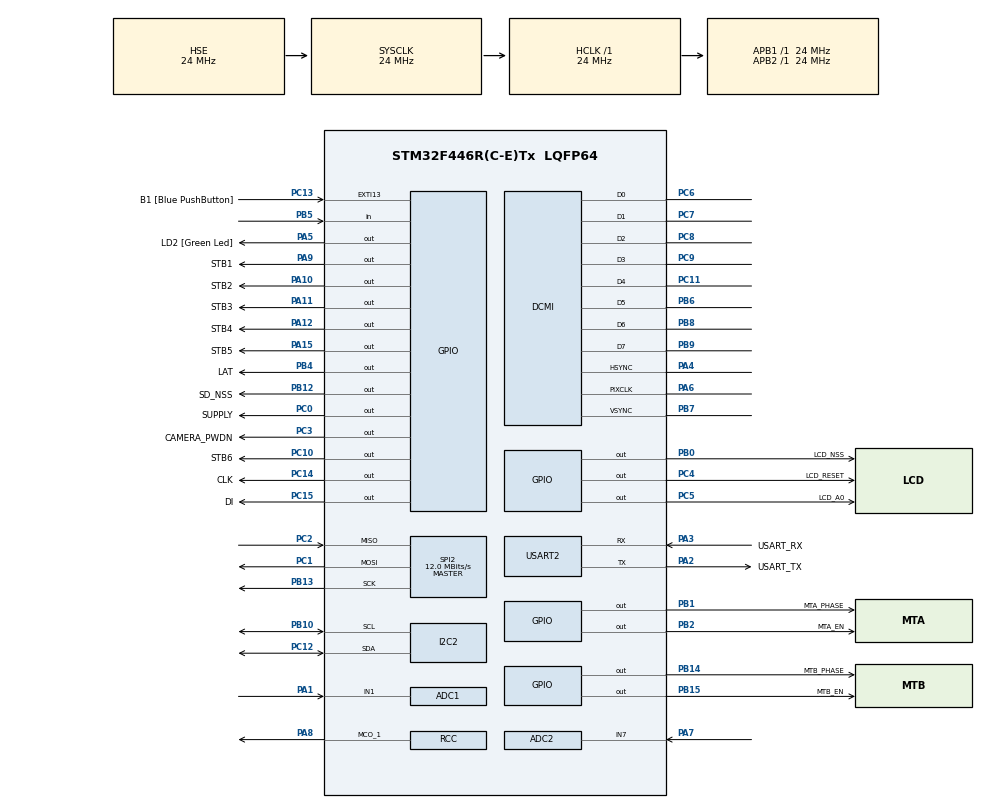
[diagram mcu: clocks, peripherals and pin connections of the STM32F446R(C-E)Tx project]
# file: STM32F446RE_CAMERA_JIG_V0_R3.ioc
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ADC1.Channel-0\#ChannelRegularConversion=ADC_CHANNEL_1
ADC1.ClockPrescaler=ADC_CLOCK_SYNC_PCLK_DIV4
ADC1.NbrOfConversionFlag=1
ADC1.Rank-0\#ChannelRegularConversion=1
ADC1.SamplingTime-0\#ChannelRegularConversion=ADC_SAMPLETIME_3CYCLES
ADC1.master=1
ADC2.Channel-0\#ChannelRegularConversion=ADC_CHANNEL_7
ADC2.ClockPrescaler=ADC_CLOCK_SYNC_PCLK_DIV4
ADC2.NbrOfConversionFlag=1
ADC2.Rank-0\#ChannelRegularConversion=1
ADC2.SamplingTime-0\#ChannelRegularConversion=ADC_SAMPLETIME_3CYCLES
Mcu.Family=STM32F4
Mcu.Name=STM32F446R(C-E)Tx
Mcu.Package=LQFP64
NVIC.PriorityGroup=NVIC_PRIORITYGROUP_0
NVIC.TIM3_IRQn=true\:0\:0\:false\:false\:true\:true\:true
PA0-WKUP.Mode=SYS_WakeUp0
PA0-WKUP.Signal=SYS_WKUP0
PA1.Signal=ADCx_IN1
PA10.GPIO_Label=STB2
PA10.Signal=GPIO_Output
PA11.GPIO_Label=STB3
PA11.Signal=GPIO_Output
PA12.GPIO_Label=STB4
PA12.Signal=GPIO_Output
PA13.GPIO_Label=TMS
PA13.Mode=Serial_Wire
PA13.Signal=SYS_JTMS-SWDIO
PA14.GPIO_Label=TCK
PA14.Mode=Serial_Wire
PA14.Signal=SYS_JTCK-SWCLK
PA15.GPIO_Label=STB5
PA15.Signal=GPIO_Output
PA2.GPIO_Label=USART_TX
PA2.Mode=Asynchronous
PA2.Signal=USART2_TX
PA3.GPIO_Label=USART_RX
PA3.Mode=Asynchronous
PA3.Signal=USART2_RX
PA4.Mode=Slave_8_bits_External_Synchro
PA4.Signal=DCMI_HSYNC
PA5.GPIO_Label=LD2 [Green Led]
PA5.Signal=GPIO_Output
PA6.Mode=Slave_8_bits_External_Synchro
PA6.Signal=DCMI_PIXCLK
PA7.Signal=ADCx_IN7
PA8.Mode=Clock-out-1
PA8.Signal=RCC_MCO_1
PA9.GPIO_Label=STB1
PA9.Signal=GPIO_Output
PB0.GPIO_Label=LCD_NSS
PB0.Signal=GPIO_Output
PB1.GPIO_Label=MTA_PHASE
PB1.Signal=GPIO_Output
PB10.Mode=I2C
PB10.Signal=I2C2_SCL
PB12.GPIO_Label=SD_NSS
PB12.Signal=GPIO_Output
PB13.Mode=Full_Duplex_Master
PB13.Signal=SPI2_SCK
PB14.GPIO_Label=MTB_PHASE
PB14.Signal=GPIO_Output
PB15.GPIO_Label=MTB_EN
PB15.Signal=GPIO_Output
PB2.GPIO_Label=MTA_EN
PB2.Signal=GPIO_Output
PB3.GPIO_Label=SWO
PB3.Signal=SYS_JTDO-SWO
PB4.GPIO_Label=LAT
PB4.Signal=GPIO_Output
PB5.Signal=GPIO_Input
PB6.Mode=Slave_8_bits_External_Synchro
PB6.Signal=DCMI_D5
PB7.Mode=Slave_8_bits_External_Synchro
PB7.Signal=DCMI_VSYNC
PB8.Mode=Slave_8_bits_External_Synchro
PB8.Signal=DCMI_D6
PB9.Mode=Slave_8_bits_External_Synchro
PB9.Signal=DCMI_D7
PC0.GPIO_Label=SUPPLY
PC0.Signal=GPIO_Output
PC1.Mode=Full_Duplex_Master
PC1.Signal=SPI2_MOSI
PC10.GPIO_Label=STB6
PC10.Signal=GPIO_Output
PC11.Mode=Slave_8_bits_External_Synchro
PC11.Signal=DCMI_D4
PC12.Mode=I2C
PC12.Signal=I2C2_SDA
PC13.GPIO_Label=B1 [Blue PushButton]
PC13.GPIO_ModeDefaultEXTI=GPIO_MODE_IT_FALLING
PC13.Signal=GPXTI13
PC14-OSC32_IN.GPIO_Label=CLK
PC14-OSC32_IN.Signal=GPIO_Output
PC15-OSC32_OUT.GPIO_Label=DI
PC15-OSC32_OUT.Signal=GPIO_Output
PC2.Mode=Full_Duplex_Master
PC2.Signal=SPI2_MISO
PC3.GPIO_Label=CAMERA_PWDN
PC3.Signal=GPIO_Output
PC4.GPIO_Label=LCD_RESET
PC4.Signal=GPIO_Output
PC5.GPIO_Label=LCD_A0
PC5.Signal=GPIO_Output
PC6.Mode=Slave_8_bits_External_Synchro
PC6.Signal=DCMI_D0
PC7.Mode=Slave_8_bits_External_Synchro
PC7.Signal=DCMI_D1
PC8.Mode=Slave_8_bits_External_Synchro
PC8.Signal=DCMI_D2
PC9.Mode=Slave_8_bits_External_Synchro
PC9.Signal=DCMI_D3
PH0-OSC_IN.Mode=HSE-External-Oscillator
PH0-OSC_IN.Signal=RCC_OSC_IN
PH1-OSC_OUT.Mode=HSE-External-Oscillator
PH1-OSC_OUT.Signal=RCC_OSC_OUT
ProjectManager.HeapSize=0x200
ProjectManager.StackSize=0x400
ProjectManager.TargetToolchain=Makefile
RCC.48MHZClocksFreq_Value=84000000
RCC.AHBFreq_Value=24000000
RCC.APB1Freq_Value=24000000
RCC.APB1TimFreq_Value=24000000
RCC.APB2Freq_Value=24000000
RCC.APB2TimFreq_Value=24000000
RCC.CortexFreq_Value=24000000
RCC.FLatency-AdvancedSettings=FLASH_LATENCY_0
RCC.HCLKFreq_Value=24000000
RCC.HSE_VALUE=24000000
RCC.HSI_VALUE=16000000
RCC.PLLM=12
RCC.PLLN=102
RCC.PLLSourceVirtual=RCC_PLLSOURCE_HSE
RCC.SYSCLKFreq_VALUE=24000000
RCC.SYSCLKSource=RCC_SYSCLKSOURCE_HSE
RCC.USBFreq_Value=102000000
RCC.VCOOutputFreq_Value=204000000
SH.ADCx_IN1.0=ADC1_IN1,IN1
SH.ADCx_IN7.0=ADC2_IN7,IN7
SPI2.BaudRatePrescaler=SPI_BAUDRATEPRESCALER_2
SPI2.CalculateBaudRate=12.0 MBits/s
SPI2.Direction=SPI_DIRECTION_2LINES
SPI2.Mode=SPI_MODE_MASTER
SPI2.VirtualType=VM_MASTER
USART2.VirtualMode=VM_ASYNC
VP_TIM3_VS_ClockSourceINT.Mode=Internal
board=NUCLEO-F446RE

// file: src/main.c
/* USER CODE BEGIN Header */
/**
******************************************************************************
* @file           : main.c
* @brief          : Main program body
******************************************************************************
* @attention
*
* <h2><center>&copy; Copyright (c) 2020 STMicroelectronics.
* All rights reserved.</center></h2>
*
* This software component is licensed by ST under BSD 3-Clause license,
* the "License"; You may not use this file except in compliance with the
* License. You may obtain a copy of the License at:
*                        opensource.org/licenses/BSD-3-Clause
*
******************************************************************************
*/
/* USER CODE END Header */

#include "main.h"
#include "printer_stepping_defs.h"

/* USER CODE BEGIN PD */
#define TFT_DC_C  HAL_GPIO_WritePin(LCD_A0_GPIO_Port, LCD_A0_Pin, 0)
#define TFT_DC_D  HAL_GPIO_WritePin(LCD_A0_GPIO_Port, LCD_A0_Pin, 1)
#define TFT_CS_L  HAL_GPIO_WritePin(LCD_NSS_GPIO_Port, LCD_NSS_GPIO_Port, 0)
#define TFT_CS_H  HAL_GPIO_WritePin(LCD_NSS_GPIO_Port, LCD_NSS_GPIO_Port, 1)
/* USER CODE END PD */

ADC_HandleTypeDef hadc1;
ADC_HandleTypeDef hadc2;

DCMI_HandleTypeDef hdcmi;

I2C_HandleTypeDef hi2c2;

SPI_HandleTypeDef hspi2;

TIM_HandleTypeDef htim3;

UART_HandleTypeDef huart2;

/* USER CODE BEGIN PV */
volatile uint8_t led = 1;
volatile uint8_t clk = 0;
volatile uint8_t dat = 0;

volatile uint8_t data_remain = 0; // number of data in buffer
volatile int lat_cnt = -1;
volatile uint64_t buffer[2][6] = {{0},{0}};
volatile uint8_t buffer_id = 0;
volatile uint8_t buffer_stat[2] = {NOT_PREPARED, NOT_PREPARED};

volatile uint16_t dat_cnt = 0;
volatile uint8_t lat = 1;
volatile uint8_t lat_en = 0;

volatile uint8_t supply_cnt = 0;

// stb
volatile int8_t stb1_pre = -1;
volatile uint8_t stb1 = 0;
volatile int8_t stb2_pre = -1;
volatile uint8_t stb2 = 0;
volatile int8_t stb3_pre = -1;
volatile uint8_t stb3 = 0;
volatile int8_t stb4_pre = -1;
volatile uint8_t stb4 = 0;
volatile int8_t stb5_pre = -1;
volatile uint8_t stb5 = 0;
volatile int8_t stb6_pre = -1;
volatile uint8_t stb6 = 0;

// motor
volatile uint8_t mta  = 0;
volatile uint8_t mta_ = 0;
volatile uint8_t mtb  = 0;
volatile uint8_t mtb_ = 0;

volatile state_e printState = WAITING;
const uint8_t mt_drive_pattern[2][4] = {{13,7,15,11},{14,6,12,9}};

const uint8_t ena_pattern[] = {0,1,1,1,0,1,1,1};
const uint8_t pha_pattern[] = {0,1,1,1,0,0,0,0};
const uint8_t enb_pattern[] = {1,1,0,1,1,1,0,1};
const uint8_t phb_pattern[] = {1,1,0,0,0,0,0,1};

uint8_t lcdTxBuffer[] = {0, 0, 0, 0, 0, 0, 0, 0};
uint8_t lcdRxBuffer[] = {0,0,0,0,0,0,0,0,0,0};

volatile uint8_t mt_pattern_count = 0;
volatile int8_t mt_state_change_count = -1;
volatile uint8_t reading_buffer = 0;
volatile uint8_t next_read_buffer = 0;
volatile uint8_t mt_reading_pattern = 0;
/* USER CODE END PV */

void SystemClock_Config(void);
static void MX_GPIO_Init(void);
static void MX_ADC1_Init(void);
static void MX_ADC2_Init(void);
static void MX_DCMI_Init(void);
static void MX_I2C2_Init(void);
static void MX_SPI2_Init(void);
static void MX_USART2_UART_Init(void);
static void MX_TIM3_Init(void);
/* USER CODE BEGIN PFP */
gpioPin a, _a, b, _b;
gpioPin* pinArray[] = {&a, &_a, &b, &_b};
/* USER CODE END PFP */

/* USER CODE BEGIN 0 */
inline static void setup_lat(void) {
    HAL_GPIO_WritePin(LAT_GPIO_Port, LAT_Pin, GPIO_PIN_SET);
}

inline static void setup_clk(void) {
    HAL_GPIO_WritePin(CLK_GPIO_Port, CLK_Pin, GPIO_PIN_RESET);
}

inline static void setup_data_port(void) {
    /* HAL_GPIO_WritePin(DATA_PORT, DATA_OUT_Pin, GPIO_PIN_RESET);  */
    HAL_GPIO_WritePin(DI_Pin, DI_GPIO_Port, GPIO_PIN_RESET);
}

inline static void setup_stb(void) {
    /* HAL_GPIO_WritePin(STROBE_PORT, STROBE_0_Pin, GPIO_PIN_RESET);  */
    /* HAL_GPIO_WritePin(STROBE_PORT, STROBE_1_Pin, GPIO_PIN_RESET);  */
    /* HAL_GPIO_WritePin(STROBE_PORT, STROBE_2_Pin, GPIO_PIN_RESET);  */
    /* HAL_GPIO_WritePin(STROBE_PORT, STROBE_3_Pin, GPIO_PIN_RESET);  */
    /* HAL_GPIO_WritePin(STROBE_PORT, STROBE_4_Pin, GPIO_PIN_RESET);  */
    /* HAL_GPIO_WritePin(STROBE_PORT, STROBE_5_Pin, GPIO_PIN_RESET);  */
    HAL_GPIO_WritePin(STB1_GPIO_Port, STB1_Pin, GPIO_PIN_RESET);
    HAL_GPIO_WritePin(STB2_GPIO_Port, STB2_Pin, GPIO_PIN_RESET);
    HAL_GPIO_WritePin(STB3_GPIO_Port, STB3_Pin, GPIO_PIN_RESET);
    HAL_GPIO_WritePin(STB4_GPIO_Port, STB4_Pin, GPIO_PIN_RESET);
    HAL_GPIO_WritePin(STB5_GPIO_Port, STB5_Pin, GPIO_PIN_RESET);
    HAL_GPIO_WritePin(STB6_GPIO_Port, STB6_Pin, GPIO_PIN_RESET);
}

inline static void setup_supply(void) {
    HAL_GPIO_WritePin(SUPPLY_GPIO_Port, SUPPLY_Pin, SUPPLY_OFF); // supply off
}

inline static void setup_motor(void) {
    a.port = MTA_EN_GPIO_Port;
    a.pin  = MTA_EN_Pin;
    b.port = MTB_EN_GPIO_Port;
    b.pin  = MTB_EN_Pin;
    HAL_GPIO_WritePin(a.port, a.pin, 1);
    HAL_GPIO_WritePin(b.port, b.pin, 1);
}

inline static void setup_motor0(void) {
    a.port = MTA_EN_GPIO_Port;
    a.pin  = MTA_EN_Pin;
    b.port = MTB_EN_GPIO_Port;
    b.pin  = MTB_EN_Pin;
    _a.port = MTA_PHASE_GPIO_Port;
    _a.pin = MTA_PHASE_Pin;
    _b.port = MTB_PHASE_GPIO_Port;
    _b.pin = MTB_PHASE_Pin;
    a.status = 1;
    a.remain = 1;
    HAL_GPIO_WritePin(a.port, a.pin, a.status);
    b.status = 0;
    b.remain=4;
    HAL_GPIO_WritePin(b.port, b.pin, b.status);
    _a.status = 0;
    _a.remain = 2;
    _b.status = 0;
    _b.remain = 0;
    HAL_GPIO_WritePin(MTA_PHASE_GPIO_Port, MTA_PHASE_Pin, _a.status);
    HAL_GPIO_WritePin(MTB_PHASE_GPIO_Port, MTB_PHASE_Pin, _a.status);
}

void writeCommand(uint8_t cmd)
{
    lcdTxBuffer[0] = cmd;
    TFT_DC_C;
    TFT_CS_L;
    HAL_SPI_Transmit(&hspi2,(uint8_t*)lcdTxBuffer,1,2000);
    TFT_CS_H;
}

void writeData(uint8_t dat)
{
    lcdTxBuffer[0] = dat;
    TFT_DC_D;
    TFT_CS_L;
    HAL_SPI_Transmit(&hspi2,(uint8_t*)lcdTxBuffer,1,2000);
    TFT_CS_H;
}

void setup(void) {
    /* setup for supply */
    setup_supply();
    /* setup for motor */
    setup_motor();
    /* strobe */
    setup_stb();
    /* data */
    setup_data_port();
    /* clk */
    setup_clk();
    /* lat */
    setup_lat();
}

/* USER CODE END 0 */

int main(void)
{

    /* MCU Configuration--------------------------------------------------------*/

    /* Reset of all peripherals, Initializes the Flash interface and the Systick. */
    HAL_Init();

    /* Configure the system clock */
    SystemClock_Config();

    /* Initialize all configured peripherals */
    MX_GPIO_Init();
    MX_ADC1_Init();
    MX_ADC2_Init();
    MX_DCMI_Init();
    MX_I2C2_Init();
    MX_SPI2_Init();
    MX_USART2_UART_Init();
    MX_TIM3_Init();
    /* USER CODE BEGIN 2 */
    // for motor
    // HAL_TIM_Base_Start_IT(&htim3); // Begin timer(TMR3) interrupt
    /* USER CODE END 2 */
    /* Infinite loop */
    /* USER CODE BEGIN WHILE */

    /* hspi2 */
    // reset LCD
    HAL_GPIO_WritePin(LCD_RESET_GPIO_Port, LCD_RESET_Pin, 1);
    HAL_Delay(5);
    HAL_GPIO_WritePin(LCD_RESET_GPIO_Port, LCD_RESET_Pin, 0);
    HAL_Delay(20);
    HAL_GPIO_WritePin(LCD_RESET_GPIO_Port, LCD_RESET_Pin, 1);
    HAL_Delay(150);

    // command initialize
    writeCommand(0x01);  // soft reset

    writeCommand(0x11);  // exit sleep

    writeCommand(0x3A);writeData(0x05); // set pix format

    writeCommand(0x26);writeData(0x04); // set gamma curve

    writeCommand(0xF2);writeData(0x01); // enable gamma adjustment

    writeCommand(0xE0);writeData(0x3F);writeData(0x25);writeData(0x1C);writeData(0x1E);writeData(0x20);
    writeData(0x12);writeData(0x2A);writeData(0x90);writeData(0x24);writeData(0x11);writeData(0x00);
    writeData(0x00);writeData(0x00);writeData(0x00);writeData(0x00); // positive gamma

    writeCommand(0xE1);writeData(0x20);writeData(0x20);writeData(0x20);writeData(0x20);writeData(0x05);
    writeData(0x00);writeData(0x15);writeData(0xA7);writeData(0x3D);writeData(0x18);writeData(0x25);
    writeData(0x2A);writeData(0x2B);writeData(0x2B);writeData(0x3A); // negative gamma

    writeCommand(0xB1);writeData(0x08);writeData(0x08); // Frame rate ctrl 1

    writeCommand(0xB4);writeData(0x07);                 // display inversion

    writeCommand(0xC0);writeData(0x0A);writeData(0x02); // power ctrl 1

    writeCommand(0xC1);writeData(0x02); // power ctrl 2

    writeCommand(0xC5);writeData(0x50);writeData(0x5B); // vcom control 1

    writeCommand(0xC7);writeData(0x40); // vcom offset

    writeCommand(0x2A);writeData(0x00);writeData(0x00);writeData(0x00);writeData(0x7F); // set column address

    HAL_Delay(250);

    writeCommand(0x2B);writeData(0x00);writeData(0x00);writeData(0x00);writeData(0x9F); // set page address

    writeCommand(0x36);writeData(0xC8); // set address mode

    /* writeCommand(0x29); // display on */

    writeCommand(0x28); // display off

    while (1)
    {
        /* USER CODE END WHILE */

    }
}

void SystemClock_Config(void)
{
    RCC_OscInitTypeDef RCC_OscInitStruct = {0};
    RCC_ClkInitTypeDef RCC_ClkInitStruct = {0};

    /** Configure the main internal regulator output voltage
     */
    __HAL_RCC_PWR_CLK_ENABLE();
    __HAL_PWR_VOLTAGESCALING_CONFIG(PWR_REGULATOR_VOLTAGE_SCALE3);
    /** Initializes the CPU, AHB and APB busses clocks
     */
    RCC_OscInitStruct.OscillatorType = RCC_OSCILLATORTYPE_HSI|RCC_OSCILLATORTYPE_HSE;
    RCC_OscInitStruct.HSEState = RCC_HSE_ON;
    RCC_OscInitStruct.HSIState = RCC_HSI_ON;
    RCC_OscInitStruct.HSICalibrationValue = RCC_HSICALIBRATION_DEFAULT;
    RCC_OscInitStruct.PLL.PLLState = RCC_PLL_NONE;
    if (HAL_RCC_OscConfig(&RCC_OscInitStruct) != HAL_OK)
    {
        Error_Handler();
    }
    /** Initializes the CPU, AHB and APB busses clocks
     */
    RCC_ClkInitStruct.ClockType = RCC_CLOCKTYPE_HCLK|RCC_CLOCKTYPE_SYSCLK
        |RCC_CLOCKTYPE_PCLK1|RCC_CLOCKTYPE_PCLK2;
    RCC_ClkInitStruct.SYSCLKSource = RCC_SYSCLKSOURCE_HSE;
    RCC_ClkInitStruct.AHBCLKDivider = RCC_SYSCLK_DIV1;
    RCC_ClkInitStruct.APB1CLKDivider = RCC_HCLK_DIV1;
    RCC_ClkInitStruct.APB2CLKDivider = RCC_HCLK_DIV1;

    if (HAL_RCC_ClockConfig(&RCC_ClkInitStruct, FLASH_LATENCY_0) != HAL_OK)
    {
        Error_Handler();
    }
    HAL_RCC_MCOConfig(RCC_MCO1, RCC_MCO1SOURCE_HSI, RCC_MCODIV_1);
}

static void MX_ADC1_Init(void)
{

    ADC_ChannelConfTypeDef sConfig = {0};

    /** Configure the global features of the ADC (Clock, Resolution, Data Alignment and number of conversion)
     */
    hadc1.Instance = ADC1;
    hadc1.Init.ClockPrescaler = ADC_CLOCK_SYNC_PCLK_DIV4;
    hadc1.Init.Resolution = ADC_RESOLUTION_12B;
    hadc1.Init.ScanConvMode = DISABLE;
    hadc1.Init.ContinuousConvMode = DISABLE;
    hadc1.Init.DiscontinuousConvMode = DISABLE;
    hadc1.Init.ExternalTrigConvEdge = ADC_EXTERNALTRIGCONVEDGE_NONE;
    hadc1.Init.ExternalTrigConv = ADC_SOFTWARE_START;
    hadc1.Init.DataAlign = ADC_DATAALIGN_RIGHT;
    hadc1.Init.NbrOfConversion = 1;
    hadc1.Init.DMAContinuousRequests = DISABLE;
    hadc1.Init.EOCSelection = ADC_EOC_SINGLE_CONV;
    if (HAL_ADC_Init(&hadc1) != HAL_OK)
    {
        Error_Handler();
    }
    /** Configure for the selected ADC regular channel its corresponding rank in the sequencer and its sample time.
     */
    sConfig.Channel = ADC_CHANNEL_1;
    sConfig.Rank = 1;
    sConfig.SamplingTime = ADC_SAMPLETIME_3CYCLES;
    if (HAL_ADC_ConfigChannel(&hadc1, &sConfig) != HAL_OK)
    {
        Error_Handler();
    }

}

static void MX_ADC2_Init(void)
{

    ADC_ChannelConfTypeDef sConfig = {0};

    /** Configure the global features of the ADC (Clock, Resolution, Data Alignment and number of conversion)
     */
    hadc2.Instance = ADC2;
    hadc2.Init.ClockPrescaler = ADC_CLOCK_SYNC_PCLK_DIV4;
    hadc2.Init.Resolution = ADC_RESOLUTION_12B;
    hadc2.Init.ScanConvMode = DISABLE;
    hadc2.Init.ContinuousConvMode = DISABLE;
    hadc2.Init.DiscontinuousConvMode = DISABLE;
    hadc2.Init.ExternalTrigConvEdge = ADC_EXTERNALTRIGCONVEDGE_NONE;
    hadc2.Init.ExternalTrigConv = ADC_SOFTWARE_START;
    hadc2.Init.DataAlign = ADC_DATAALIGN_RIGHT;
    hadc2.Init.NbrOfConversion = 1;
    hadc2.Init.DMAContinuousRequests = DISABLE;
    hadc2.Init.EOCSelection = ADC_EOC_SINGLE_CONV;
    if (HAL_ADC_Init(&hadc2) != HAL_OK)
    {
        Error_Handler();
    }
    /** Configure for the selected ADC regular channel its corresponding rank in the sequencer and its sample time.
     */
    sConfig.Channel = ADC_CHANNEL_7;
    sConfig.Rank = 1;
    sConfig.SamplingTime = ADC_SAMPLETIME_3CYCLES;
    if (HAL_ADC_ConfigChannel(&hadc2, &sConfig) != HAL_OK)
    {
        Error_Handler();
    }

}

static void MX_DCMI_Init(void)
{

    hdcmi.Instance = DCMI;
    hdcmi.Init.SynchroMode = DCMI_SYNCHRO_HARDWARE;
    hdcmi.Init.PCKPolarity = DCMI_PCKPOLARITY_FALLING;
    hdcmi.Init.VSPolarity = DCMI_VSPOLARITY_LOW;
    hdcmi.Init.HSPolarity = DCMI_HSPOLARITY_LOW;
    hdcmi.Init.CaptureRate = DCMI_CR_ALL_FRAME;
    hdcmi.Init.ExtendedDataMode = DCMI_EXTEND_DATA_8B;
    hdcmi.Init.JPEGMode = DCMI_JPEG_DISABLE;
    hdcmi.Init.ByteSelectMode = DCMI_BSM_ALL;
    hdcmi.Init.ByteSelectStart = DCMI_OEBS_ODD;
    hdcmi.Init.LineSelectMode = DCMI_LSM_ALL;
    hdcmi.Init.LineSelectStart = DCMI_OELS_ODD;
    if (HAL_DCMI_Init(&hdcmi) != HAL_OK)
    {
        Error_Handler();
    }

}

static void MX_I2C2_Init(void)
{

    hi2c2.Instance = I2C2;
    hi2c2.Init.ClockSpeed = 100000;
    hi2c2.Init.DutyCycle = I2C_DUTYCYCLE_2;
    hi2c2.Init.OwnAddress1 = 0;
    hi2c2.Init.AddressingMode = I2C_ADDRESSINGMODE_7BIT;
    hi2c2.Init.DualAddressMode = I2C_DUALADDRESS_DISABLE;
    hi2c2.Init.OwnAddress2 = 0;
    hi2c2.Init.GeneralCallMode = I2C_GENERALCALL_DISABLE;
    hi2c2.Init.NoStretchMode = I2C_NOSTRETCH_DISABLE;
    if (HAL_I2C_Init(&hi2c2) != HAL_OK)
    {
        Error_Handler();
    }

}

static void MX_SPI2_Init(void)
{

    /* SPI2 parameter configuration*/
    hspi2.Instance = SPI2;
    hspi2.Init.Mode = SPI_MODE_MASTER;
    hspi2.Init.Direction = SPI_DIRECTION_2LINES;
    hspi2.Init.DataSize = SPI_DATASIZE_8BIT;
    hspi2.Init.CLKPolarity = SPI_POLARITY_LOW;
    hspi2.Init.CLKPhase = SPI_PHASE_1EDGE;
    hspi2.Init.NSS = SPI_NSS_SOFT;
    hspi2.Init.BaudRatePrescaler = SPI_BAUDRATEPRESCALER_2;
    hspi2.Init.FirstBit = SPI_FIRSTBIT_MSB;
    hspi2.Init.TIMode = SPI_TIMODE_DISABLE;
    hspi2.Init.CRCCalculation = SPI_CRCCALCULATION_DISABLE;
    hspi2.Init.CRCPolynomial = 10;
    if (HAL_SPI_Init(&hspi2) != HAL_OK)
    {
        Error_Handler();
    }

}

static void MX_TIM3_Init(void)
{

    TIM_ClockConfigTypeDef sClockSourceConfig = {0};
    TIM_MasterConfigTypeDef sMasterConfig = {0};

    htim3.Instance = TIM3;
    htim3.Init.Prescaler = 119;
    htim3.Init.CounterMode = TIM_COUNTERMODE_UP;
    htim3.Init.Period = 199;
    htim3.Init.ClockDivision = TIM_CLOCKDIVISION_DIV1;
    htim3.Init.AutoReloadPreload = TIM_AUTORELOAD_PRELOAD_DISABLE;
    if (HAL_TIM_Base_Init(&htim3) != HAL_OK)
    {
        Error_Handler();
    }
    sClockSourceConfig.ClockSource = TIM_CLOCKSOURCE_INTERNAL;
    if (HAL_TIM_ConfigClockSource(&htim3, &sClockSourceConfig) != HAL_OK)
    {
        Error_Handler();
    }
    sMasterConfig.MasterOutputTrigger = TIM_TRGO_RESET;
    sMasterConfig.MasterSlaveMode = TIM_MASTERSLAVEMODE_DISABLE;
    if (HAL_TIMEx_MasterConfigSynchronization(&htim3, &sMasterConfig) != HAL_OK)
    {
        Error_Handler();
    }

}

static void MX_USART2_UART_Init(void)
{

    huart2.Instance = USART2;
    huart2.Init.BaudRate = 115200;
    huart2.Init.WordLength = UART_WORDLENGTH_8B;
    huart2.Init.StopBits = UART_STOPBITS_1;
    huart2.Init.Parity = UART_PARITY_NONE;
    huart2.Init.Mode = UART_MODE_TX_RX;
    huart2.Init.HwFlowCtl = UART_HWCONTROL_NONE;
    huart2.Init.OverSampling = UART_OVERSAMPLING_16;
    if (HAL_UART_Init(&huart2) != HAL_OK)
    {
        Error_Handler();
    }

}

static void MX_GPIO_Init(void)
{
    GPIO_InitTypeDef GPIO_InitStruct = {0};

    /* GPIO Ports Clock Enable */
    __HAL_RCC_GPIOC_CLK_ENABLE();
    __HAL_RCC_GPIOH_CLK_ENABLE();
    __HAL_RCC_GPIOA_CLK_ENABLE();
    __HAL_RCC_GPIOB_CLK_ENABLE();

    /*Configure GPIO pin Output Level */
    HAL_GPIO_WritePin(GPIOC, CLK_Pin|DI_Pin|SUPPLY_Pin|CAMERA_PWDN_Pin
                      |LCD_RESET_Pin|LCD_A0_Pin|STB6_Pin, GPIO_PIN_RESET);

    /*Configure GPIO pin Output Level */
    HAL_GPIO_WritePin(GPIOA, LD2_Pin|STB1_Pin|STB2_Pin|STB3_Pin
                      |STB4_Pin|STB5_Pin, GPIO_PIN_RESET);

    /*Configure GPIO pin Output Level */
    HAL_GPIO_WritePin(GPIOB, LCD_NSS_Pin|MTA_PHASE_Pin|MTA_EN_Pin|SD_NSS_Pin
                      |MTB_PHASE_Pin|MTB_EN_Pin|LAT_Pin, GPIO_PIN_RESET);

    /*Configure GPIO pin : B1_Pin */
    GPIO_InitStruct.Pin = B1_Pin;
    GPIO_InitStruct.Mode = GPIO_MODE_IT_FALLING;
    GPIO_InitStruct.Pull = GPIO_NOPULL;
    HAL_GPIO_Init(B1_GPIO_Port, &GPIO_InitStruct);

    /*Configure GPIO pins : CLK_Pin DI_Pin SUPPLY_Pin CAMERA_PWDN_Pin
      LCD_RESET_Pin LCD_A0_Pin STB6_Pin */
    GPIO_InitStruct.Pin = CLK_Pin|DI_Pin|SUPPLY_Pin|CAMERA_PWDN_Pin
        |LCD_RESET_Pin|LCD_A0_Pin|STB6_Pin;
    GPIO_InitStruct.Mode = GPIO_MODE_OUTPUT_PP;
    GPIO_InitStruct.Pull = GPIO_NOPULL;
    GPIO_InitStruct.Speed = GPIO_SPEED_FREQ_LOW;
    HAL_GPIO_Init(GPIOC, &GPIO_InitStruct);

    /*Configure GPIO pins : LD2_Pin STB1_Pin STB2_Pin STB3_Pin
      STB4_Pin STB5_Pin */
    GPIO_InitStruct.Pin = LD2_Pin|STB1_Pin|STB2_Pin|STB3_Pin
        |STB4_Pin|STB5_Pin;
    GPIO_InitStruct.Mode = GPIO_MODE_OUTPUT_PP;
    GPIO_InitStruct.Pull = GPIO_NOPULL;
    GPIO_InitStruct.Speed = GPIO_SPEED_FREQ_LOW;
    HAL_GPIO_Init(GPIOA, &GPIO_InitStruct);

    /*Configure GPIO pins : LCD_NSS_Pin MTA_PHASE_Pin MTA_EN_Pin SD_NSS_Pin
      MTB_PHASE_Pin MTB_EN_Pin LAT_Pin */
    GPIO_InitStruct.Pin = LCD_NSS_Pin|MTA_PHASE_Pin|MTA_EN_Pin|SD_NSS_Pin
        |MTB_PHASE_Pin|MTB_EN_Pin|LAT_Pin;
    GPIO_InitStruct.Mode = GPIO_MODE_OUTPUT_PP;
    GPIO_InitStruct.Pull = GPIO_NOPULL;
    GPIO_InitStruct.Speed = GPIO_SPEED_FREQ_LOW;
    HAL_GPIO_Init(GPIOB, &GPIO_InitStruct);

    /*Configure GPIO pin : PA8 */
    GPIO_InitStruct.Pin = GPIO_PIN_8;
    GPIO_InitStruct.Mode = GPIO_MODE_AF_PP;
    GPIO_InitStruct.Pull = GPIO_NOPULL;
    GPIO_InitStruct.Speed = GPIO_SPEED_FREQ_LOW;
    GPIO_InitStruct.Alternate = GPIO_AF0_MCO;
    HAL_GPIO_Init(GPIOA, &GPIO_InitStruct);

    /*Configure GPIO pin : PB5 */
    GPIO_InitStruct.Pin = GPIO_PIN_5;
    GPIO_InitStruct.Mode = GPIO_MODE_INPUT;
    GPIO_InitStruct.Pull = GPIO_NOPULL;
    HAL_GPIO_Init(GPIOB, &GPIO_InitStruct);

}

void Error_Handler(void)
{
}

/************************ (C) COPYRIGHT STMicroelectronics *****END OF FILE****/
